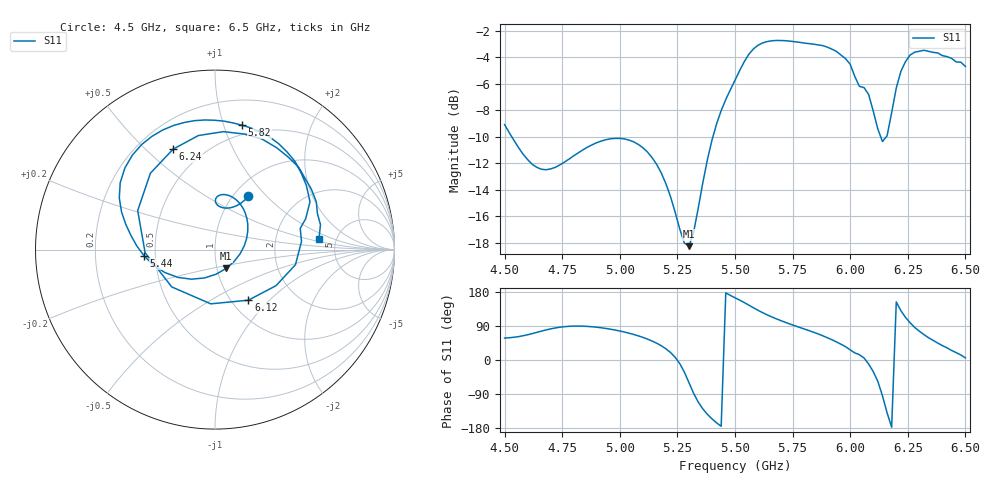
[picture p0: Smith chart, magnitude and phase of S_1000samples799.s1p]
! TOUCHSTONE file generated by CST MICROWAVE STUDIO
! Date and time: Sat Oct 29 10:35:29 2022
! Project name: L.cst
! Parameters = {Di=1.27; Epsilon_r=1.56; InnerDiameter=1.27; Length=2; Lf=10; Lg=60; OuterConductorThickness=0.2921; OuterDiameter=3.6; Wf=3; Wp=41.2; de=1.5; df=6.8; g=0.8; gx=1.13218; gy=1.74572; h=2.34; hf=1.524; px=13.0218; py=11.105; w=9.7; wx=11.8896; wy=9.35923}
! Header version: 2018
! Port assignment regex: !\s*Touchstone port\s*([0-9]+)\s*=\s*(CST MWS port|CST DS port)\s*([0-9]+|Zmin|Zmax)\s*\(\"(.*)\"\)(\s*mode\s*([0-9]+))?.*
! Touchstone port assignment:
! Touchstone port 1 = CST MWS port 1 ("")
# GHz S DB R 50
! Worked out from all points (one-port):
!   101 points, 4.5 GHz to 6.5 GHz, reference 50 ohm
!   lowest |S11| = -18.3 dB at 5.3 GHz (marker M1), VSWR 1.28, Z = 55.3 - j11.8 ohm
!   |S11| at or under -10 dB: 4.531 GHz to 5.404 GHz (873.6 MHz wide, 17.6 % of centre); 6.132183 GHz to 6.15729 GHz (25.11 MHz wide, 0.409 % of centre)
!   S11 on the Smith chart (normalised r, x): 4.5 GHz: 1.17, +0.79; 5.44 GHz: 0.43, -0.04; 5.82 GHz: 0.41, +1.15; 6.12 GHz: 1.19, -0.76; 6.24 GHz: 0.34, +0.61; 6.5 GHz: 3.67, +0.63
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4.5  -9.09 57.9
4.64  -12.32 73.0
4.76  -11.92 87.9
5  -10.13 76.5
5.16  -12.09 44.3
5.26  -16.96 -9.3
5.3  -18.26 -59.5
5.38  -11.76 -143.2
5.44  -8.04 -174.9
5.5  -5.74 164.2
5.56  -3.79 144.8
5.64  -2.83 119.1
5.76  -2.84 90.3
5.82  -2.98 77.8
5.92  -3.40 53.7
6  -4.54 26.7
6.08  -6.82 -10.7
6.12  -9.43 -56.6
6.14  -10.37 -94.4
6.16  -9.94 -139.2
6.18  -8.19 -177.4
6.2  -6.33 153.2
6.24  -4.34 112.6
6.26  -3.85 98.3
6.32  -3.48 67.1
6.38  -3.69 44.7
6.44  -4.10 25.2
6.5  -4.70 5.6
